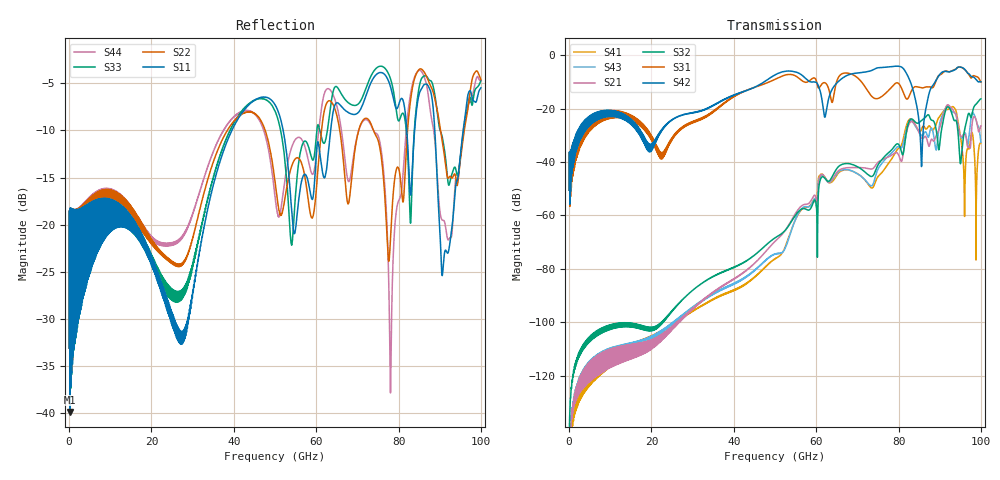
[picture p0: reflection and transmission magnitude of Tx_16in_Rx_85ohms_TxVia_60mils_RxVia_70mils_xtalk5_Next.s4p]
! Info: Touchstone file created by Circ.  Input file=Tx_16in_Rx_85ohms_TxVia_60mils_RxVia_70mils.circ
# Hz S RI R 50
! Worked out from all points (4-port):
!   10000 points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, 10 MHz to 100 GHz, reference 50 ohm
!   strongest paths, dB at 10 MHz, 25.01 GHz, 50.01 GHz, 75.01 GHz, 100 GHz:
!     S42: -50.6, -24.2, -7.4, -4.7, -10.0
!     S31: -50.6, -31.0, -9.1, -16.2, -10.1
!     S32: -156.7, -96.0, -68.5, -41.2, -16.4
!     S21: -167.6, -102.9, -69.8, -40.1, -26.5
!     S43: -157.9, -101.6, -74.6, -42.7, -32.7
!     S41: -158.4, -101.0, -76.3, -45.5, -33.0
!   lowest |S11| = -39.9 dB at 200 MHz (marker M1), VSWR 1.02, Z = 49.2 - j0.587 ohm
!   |S11| at or under -10 dB: start of sweep to 39.53 GHz; 52 GHz to 63.52 GHz (11.52 GHz wide, 20 % of centre); 88.81 GHz to 95.73 GHz (6.922 GHz wide, 7.5 % of centre)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
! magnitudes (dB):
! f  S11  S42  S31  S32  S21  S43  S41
! 10 MHz  -33.1  -50.6  -50.6  -156.7  -167.6  -157.9  -158.4
! 200 MHz  -39.9  -44.6  -44.6  -133.9  -144.6  -144.5  -148.4
! 39.63 GHz  -9.9  -15.2  -15.9  -79.7  -84.3  -86.0  -88.5
! 72.82 GHz  -5.4  -6.1  -14.1  -45.1  -42.6  -48.4  -48.8
! 78.07 GHz  -5.4  -4.3  -12.4  -35.9  -37.7  -37.0  -39.5
! 85.57 GHz  -5.6  -41.6  -12.2  -24.4  -31.2  -30.1  -27.8
! 100 GHz  -5.5  -10.0  -10.1  -16.4  -26.5  -32.7  -33.0
